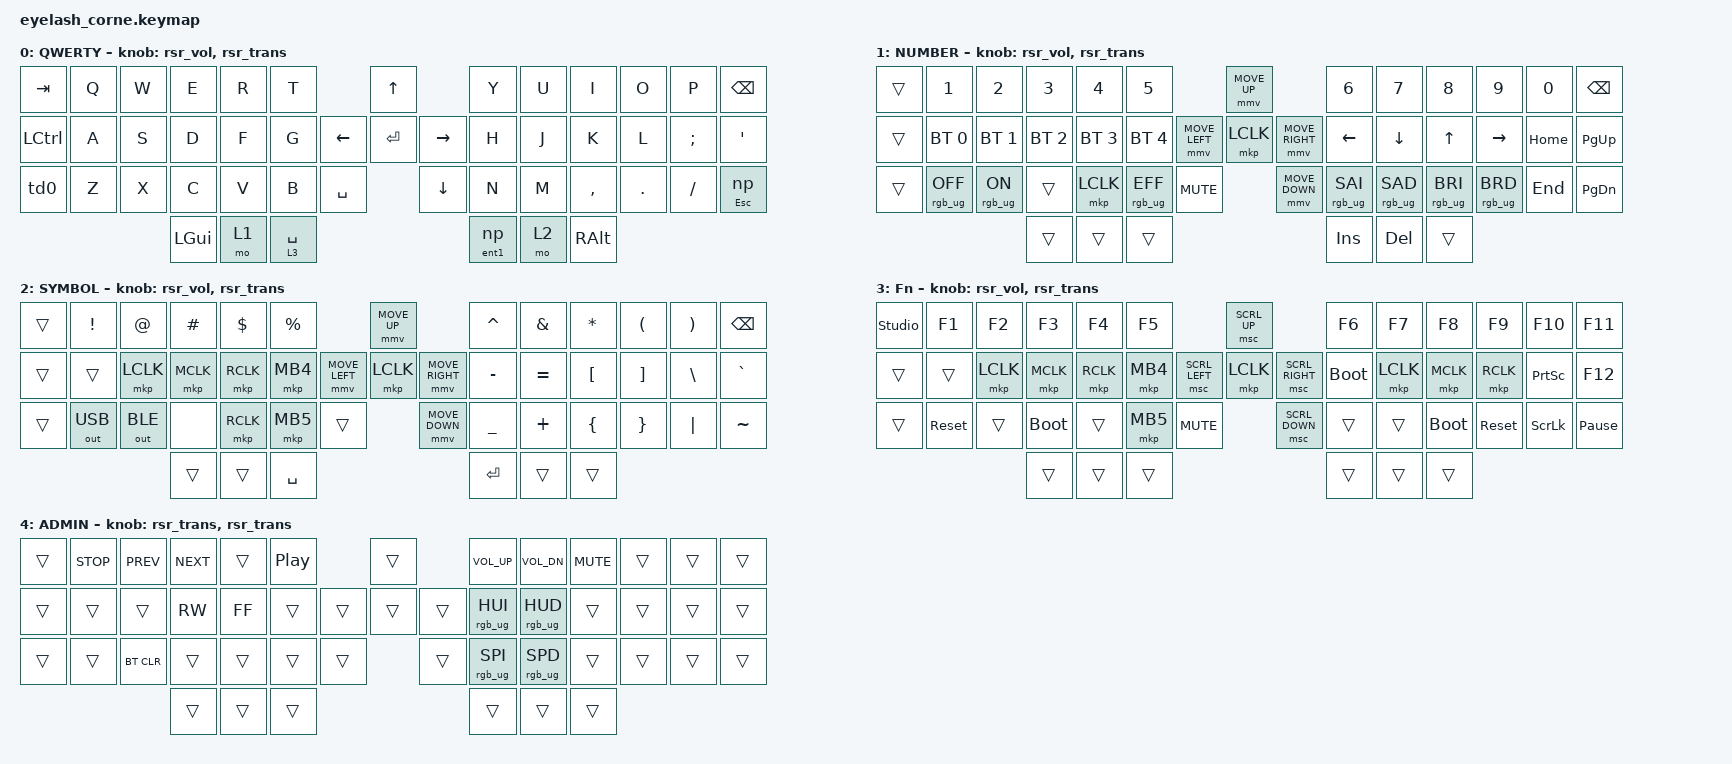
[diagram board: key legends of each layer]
#define ZMK_POINTING_DEFAULT_MOVE_VAL 1200  // 600
#define ZMK_POINTING_DEFAULT_SCRL_VAL 25   // 10

#include <input/processors.dtsi>
#include <zephyr/dt-bindings/input/input-event-codes.h>
#include <behaviors.dtsi>
#include <behaviors/runtime-sensor-rotate.dtsi>
#include <dt-bindings/zmk/bt.h>
#include <dt-bindings/zmk/keys.h>
#include <dt-bindings/zmk/outputs.h>
#include <dt-bindings/zmk/pointing.h>
#include <dt-bindings/zmk/rgb.h>

&soft_off { hold-time-ms = <2000>; };

// Spacebar (&lt) responsiveness: send the tap instantly when mid-typing,
// smooth out fast repeats. tap-preferred + 200ms term. (Enter no longer uses
// &lt — it has its own hold-tap below; only Space is &lt now.)
&lt {
    require-prior-idle-ms = <150>;
    quick-tap-ms = <175>;
};

/ {
    behaviors {
        td0: td0 {
            compatible = "zmk,behavior-tap-dance";
            display-name = "Shift/Caps Lock Tap Dance";
            #binding-cells = <0>;
            bindings = <&kp LEFT_SHIFT>, <&kp CAPS>;
        };

        rsr_vol: rsr_vol {
            compatible = "zmk,behavior-runtime-sensor-rotate";
            #sensor-binding-cells = <0>;
            tap-ms = <5>;
            cw-binding = <&kp C_VOL_UP>;
            ccw-binding = <&kp C_VOL_DN>;
        };

        rsr_trans: rsr_trans {
            compatible = "zmk,behavior-runtime-sensor-rotate";
            #sensor-binding-cells = <0>;
            tap-ms = <0>;
        };

        // --- one-param macro helpers (parameter intentionally ignored) ---
        np: np {                 // do-nothing: tap side of hold-only keys
            compatible = "zmk,behavior-macro-one-param";
            #binding-cells = <1>;
            bindings = <&none>;
        };
        ent1: ent1 {             // single Enter, no auto-repeat: hold side of Enter
            compatible = "zmk,behavior-macro-one-param";
            #binding-cells = <1>;
            bindings = <&kp ENTER>;
        };

        // --- hold-tap keys (non-snappy: tap-preferred, fires only on full term) ---
        esc_ht: esc_ht {         // hold >=200ms = Esc; quick tap = nothing
            compatible = "zmk,behavior-hold-tap";
            #binding-cells = <2>;
            flavor = "tap-preferred";
            tapping-term-ms = <200>;
            bindings = <&kp>, <&np>;
        };
        ent_ht: ent_ht {         // hold >=100ms = one Enter (no repeat); tap <100ms = nothing
            compatible = "zmk,behavior-hold-tap";
            #binding-cells = <2>;
            flavor = "tap-preferred";
            tapping-term-ms = <100>;
            bindings = <&ent1>, <&np>;
        };
    };

    combos {
        compatible = "zmk,combos";

        softoff {
            bindings = <&soft_off>;
            key-positions = <1 15 29>;
        };
    };

    conditional_layers {
        compatible = "zmk,conditional-layers";

        // Hold NUMBER (1) + SYMBOL (2) together -> ADMIN (4)
        bt_admin {
            if-layers = <1 2>;
            then-layer = <4>;
        };
    };

    keymap {
        compatible = "zmk,keymap";

        default_layer {
            display-name = "QWERTY";
            bindings = <
&kp TAB    &kp Q  &kp W  &kp E     &kp R  &kp T                               &kp UP                &kp Y        &kp U  &kp I      &kp O    &kp P     &kp BSPC
&kp LCTRL  &kp A  &kp S  &kp D     &kp F  &kp G                     &kp LEFT  &kp ENTER  &kp RIGHT  &kp H        &kp J  &kp K      &kp L    &kp SEMI  &kp SQT
&td0       &kp Z  &kp X  &kp C     &kp V  &kp B        &kp SPACE              &kp DOWN              &kp N        &kp M  &kp COMMA  &kp DOT  &kp FSLH  &esc_ht ESC 0
                         &kp LGUI  &mo 1  &lt 3 SPACE                                               &ent_ht 0 0  &mo 2  &kp RALT
            >;

            sensor-bindings = <&rsr_vol &rsr_trans>;
        };

        lower_layer {
            display-name = "NUMBER";
            bindings = <
&trans  &kp N1           &kp N2          &kp N3        &kp N4        &kp N5                                         &mmv MOVE_UP                     &kp N6           &kp N7           &kp N8           &kp N9           &kp N0    &kp BSPC
&trans  &bt BT_SEL 0     &bt BT_SEL 1    &bt BT_SEL 2  &bt BT_SEL 3  &bt BT_SEL 4                   &mmv MOVE_LEFT  &mkp LCLK       &mmv MOVE_RIGHT  &kp LEFT         &kp DOWN         &kp UP           &kp RIGHT        &kp HOME  &kp PG_UP
&trans  &rgb_ug RGB_OFF  &rgb_ug RGB_ON  &trans        &mkp LCLK     &rgb_ug RGB_EFF  &kp C_MUTE                    &mmv MOVE_DOWN                   &rgb_ug RGB_SAI  &rgb_ug RGB_SAD  &rgb_ug RGB_BRI  &rgb_ug RGB_BRD  &kp END   &kp PG_DN
                                         &trans        &trans        &trans                                                                          &kp INS          &kp DEL          &trans
            >;

            sensor-bindings = <&rsr_vol &rsr_trans>;
        };

        raise_layer {
            display-name = "SYMBOL";
            bindings = <
&trans  &kp EXCL      &kp AT        &kp HASH   &kp DLLR   &kp PRCNT                            &mmv MOVE_UP                     &kp CARET  &kp AMPS   &kp ASTRK  &kp LPAR  &kp RPAR  &kp BSPC
&trans  &trans       &mkp LCLK     &mkp MCLK  &mkp RCLK  &mkp MB4             &mmv MOVE_LEFT  &mkp LCLK       &mmv MOVE_RIGHT  &kp MINUS  &kp EQUAL  &kp LBKT   &kp RBKT  &kp BSLH  &kp GRAVE
&trans  &out OUT_USB  &out OUT_BLE  &none      &mkp RCLK  &mkp MB5   &trans                    &mmv MOVE_DOWN                   &kp UNDER  &kp PLUS   &kp LBRC   &kp RBRC  &kp PIPE  &kp TILDE
                                    &trans     &trans     &kp SPACE                                                             &kp RET    &trans     &trans
            >;

            sensor-bindings = <&rsr_vol &rsr_trans>;
        };

        layer_3 {
            display-name = "Fn";
            bindings = <
&studio_unlock  &kp F1      &kp F2     &kp F3       &kp F4     &kp F5                                  &msc SCRL_UP                     &kp F6       &kp F7     &kp F8       &kp F9      &kp F10          &kp F11
&trans          &trans      &mkp LCLK  &mkp MCLK    &mkp RCLK  &mkp MB4                &msc SCRL_LEFT  &mkp LCLK       &msc SCRL_RIGHT  &bootloader  &mkp LCLK  &mkp MCLK    &mkp RCLK   &kp PRINTSCREEN  &kp F12
&trans          &sys_reset  &trans     &bootloader  &trans     &mkp MB5  &kp C_MUTE                    &msc SCRL_DOWN                   &trans       &trans     &bootloader  &sys_reset  &kp SCROLLLOCK   &kp PAUSE_BREAK
                                       &trans       &trans     &trans                                                                   &trans       &trans     &trans
            >;

            sensor-bindings = <&rsr_vol &rsr_trans>;
        };

        admin_layer {
            display-name = "ADMIN";
            bindings = <
&trans  &kp C_STOP  &kp C_PREV  &kp C_NEXT  &trans     &kp C_PP                                &trans                   &kp C_VOL_UP     &kp C_VOL_DN     &kp C_MUTE  &trans  &trans  &trans
&trans  &trans      &trans      &kp C_RW    &kp C_FF   &trans                 &trans  &trans   &trans          &rgb_ug RGB_HUI  &rgb_ug RGB_HUD  &trans      &trans  &trans  &trans
&trans  &trans      &bt BT_CLR  &trans      &trans     &trans     &trans                &trans                   &rgb_ug RGB_SPI  &rgb_ug RGB_SPD  &trans      &trans  &trans  &trans
                                &trans      &trans     &trans                                                          &trans  &trans  &trans
            >;

            sensor-bindings = <&rsr_trans &rsr_trans>;
        };
    };
};
